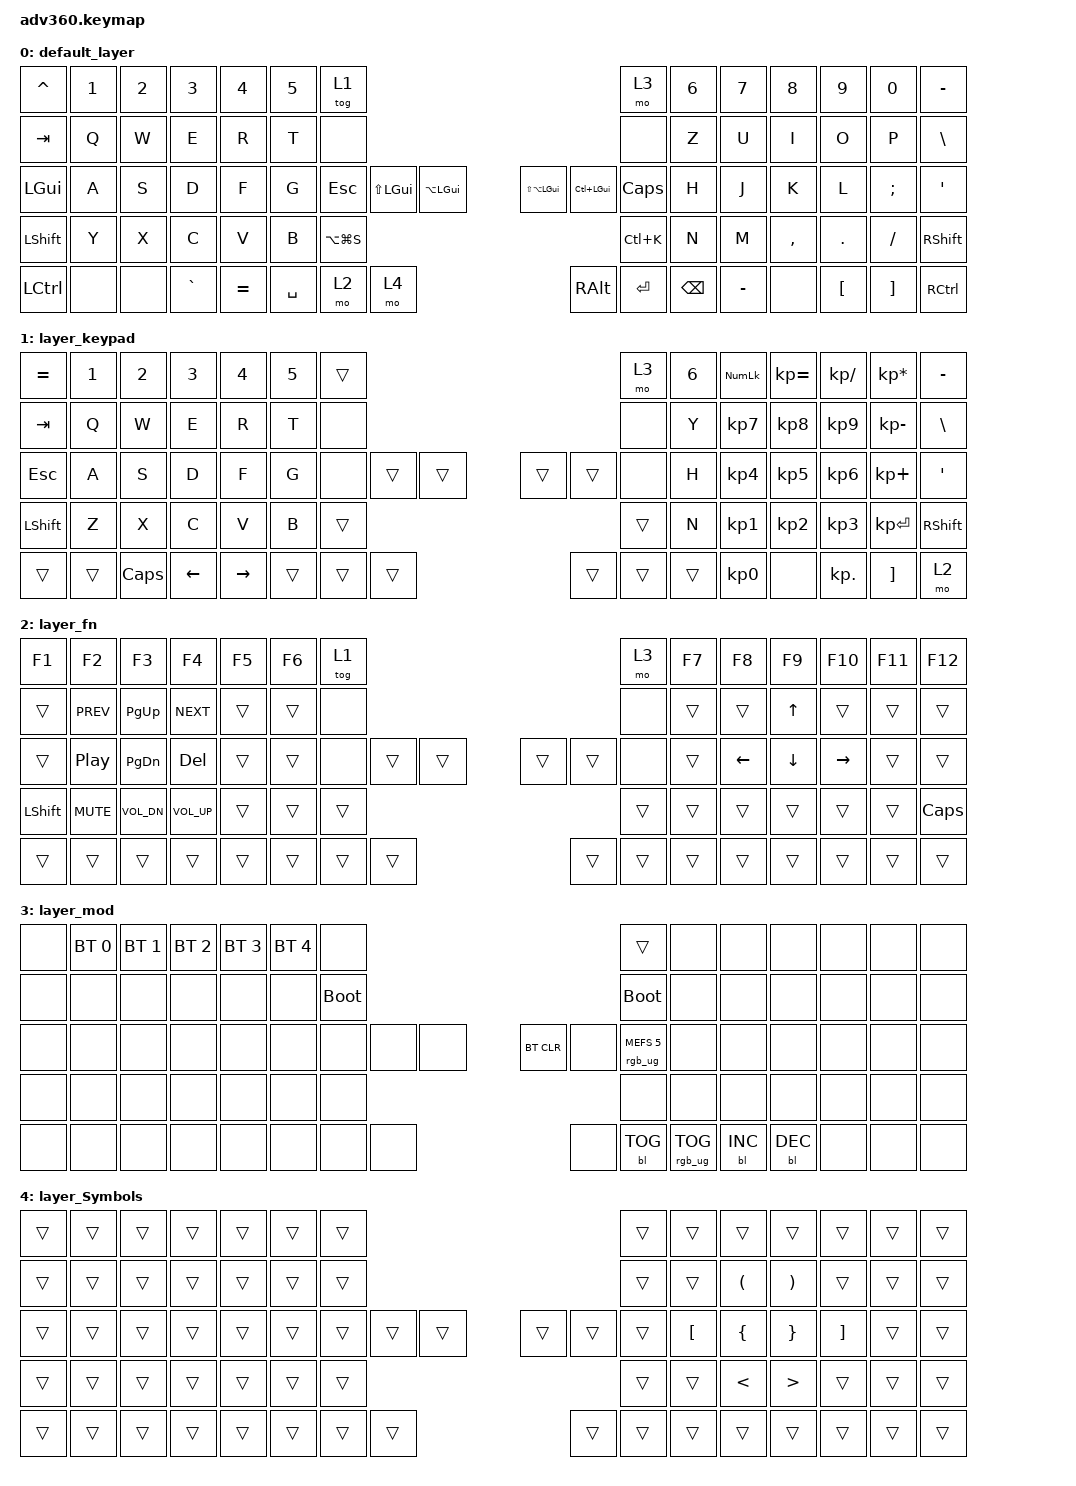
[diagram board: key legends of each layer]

/*
 * Copyright (c) 2020 The ZMK Contributors
 *
 * SPDX-License-Identifier: MIT
 */


/* THIS FILE WAS GENERATED!
 *
 * This file was generated automatically. You may or may not want to
 * edit it directly.
 */

#include <behaviors.dtsi>
#include <dt-bindings/zmk/keys.h>
#include <dt-bindings/zmk/bt.h>
#include <dt-bindings/zmk/rgb.h>
#include <dt-bindings/zmk/backlight.h>

/ {
  behaviors {
    #include "macros.dtsi"

    hm: homerow_mods {
        compatible = "zmk,behavior-hold-tap";
        label = "HOMEROW_MODS";
        #binding-cells = <2>;
        tapping-term-ms = <200>;
        quick_tap_ms = <175>;
        flavor = "tap-preferred";
        bindings = <&kp>, <&kp>;
    };
  };

    keymap {
        compatible = "zmk,keymap";


        default_layer {
            bindings = <
    &kp CARET  &kp N1  &kp N2     &kp N3     &kp N4  &kp N5               &tog 1                                                                                                      &mo 3  &kp N6     &kp N7     &kp N8    &kp N9    &kp N0  &kp MINUS
      &kp TAB   &kp Q   &kp W      &kp E      &kp R   &kp T                &none                                                                                                      &none   &kp Z      &kp U      &kp I     &kp O     &kp P   &kp BSLH
 &kp LEFT_GUI   &kp A   &kp S      &kp D      &kp F   &kp G              &kp ESC  &kp LS(LEFT_GUI)  &kp LA(LEFT_GUI)                  &kp LS(LA(LEFT_GUI))  &kp LC(LEFT_GUI)       &kp CAPS   &kp H      &kp J      &kp K     &kp L  &kp SEMI    &kp SQT
    &kp LSHFT   &kp Y   &kp X      &kp C      &kp V   &kp B                                            &kp LA(LG(S))                             &kp LC(K)                                    &kp N      &kp M  &kp COMMA   &kp DOT  &kp FSLH  &kp RSHFT
    &kp LCTRL   &none   &none  &kp GRAVE  &kp EQUAL                    &kp SPACE             &mo 2             &mo 4                         &kp RIGHT_ALT         &kp ENTER  &kp BACKSPACE          &kp MINUS      &none  &kp LBKT  &kp RBKT  &kp RCTRL
            >;
        };

        layer_keypad {
            bindings = <
 &kp EQUAL  &kp N1    &kp N2    &kp N3     &kp N4  &kp N5            &trans                                                   &mo 3  &kp N6  &kp KP_NUM  &kp KP_EQUAL  &kp KP_DIVIDE  &kp KP_MULTIPLY  &kp MINUS
   &kp TAB   &kp Q     &kp W     &kp E      &kp R   &kp T             &none                                                   &none   &kp Y   &kp KP_N7     &kp KP_N8      &kp KP_N9     &kp KP_MINUS   &kp BSLH
   &kp ESC   &kp A     &kp S     &kp D      &kp F   &kp G             &none  &trans  &trans                  &trans  &trans   &none   &kp H   &kp KP_N4     &kp KP_N5      &kp KP_N6      &kp KP_PLUS    &kp SQT
 &kp LSHFT   &kp Z     &kp X     &kp C      &kp V   &kp B                            &trans                  &trans                   &kp N   &kp KP_N1     &kp KP_N2      &kp KP_N3     &kp KP_ENTER  &kp RSHFT
    &trans  &trans  &kp CAPS  &kp LEFT  &kp RIGHT                    &trans  &trans  &trans                  &trans  &trans  &trans           &kp KP_N0         &none     &kp KP_DOT         &kp RBKT      &mo 2
            >;
        };

        layer_fn {
            bindings = <
         &kp F1            &kp F2        &kp F3        &kp F4  &kp F5  &kp F6            &tog 1                                                   &mo 3  &kp F7          &kp F8          &kp F9          &kp F10  &kp F11       &kp F12
         &trans        &kp C_PREV     &kp PG_UP    &kp C_NEXT  &trans  &trans             &none                                                   &none  &trans          &trans    &kp UP_ARROW           &trans   &trans        &trans
         &trans  &kp C_PLAY_PAUSE     &kp PG_DN    &kp DELETE  &trans  &trans             &none  &trans  &trans                  &trans  &trans   &none  &trans  &kp LEFT_ARROW  &kp DOWN_ARROW  &kp RIGHT_ARROW   &trans        &trans
 &kp LEFT_SHIFT        &kp C_MUTE  &kp C_VOL_DN  &kp C_VOL_UP  &trans  &trans                            &trans                  &trans                  &trans          &trans          &trans           &trans   &trans  &kp CAPSLOCK
         &trans            &trans        &trans        &trans  &trans                    &trans  &trans  &trans                  &trans  &trans  &trans                  &trans          &trans           &trans   &trans        &trans
            >;
        };

        layer_mod {
            bindings = <
  &none  &bt BT_SEL 0  &bt BT_SEL 1  &bt BT_SEL 2  &bt BT_SEL 3  &bt BT_SEL 4                  &none                                                                          &trans   &none       &none       &none   &none   &none   &none
  &none         &none         &none         &none         &none         &none            &bootloader                                                                     &bootloader   &none       &none       &none   &none   &none   &none
  &none         &none         &none         &none         &none         &none                  &none   &none   &none                  &bt BT_CLR       &none  &rgb_ug RGB_MEFS_CMD 5   &none       &none       &none   &none   &none   &none
  &none         &none         &none         &none         &none         &none                                  &none                       &none                                       &none       &none       &none   &none   &none   &none
  &none         &none         &none         &none         &none                                &none   &none   &none                       &none  &bl BL_TOG         &rgb_ug RGB_TOG          &bl BL_INC  &bl BL_DEC   &none   &none   &none
            >;
        };

        layer_Symbols {
            bindings = <
 &trans  &trans  &trans  &trans  &trans  &trans            &trans                                                  &trans            &trans                &trans                 &trans             &trans  &trans  &trans
 &trans  &trans  &trans  &trans  &trans  &trans            &trans                                                  &trans            &trans  &kp LEFT_PARENTHESIS  &kp RIGHT_PARENTHESIS             &trans  &trans  &trans
 &trans  &trans  &trans  &trans  &trans  &trans            &trans  &trans  &trans                  &trans  &trans  &trans  &kp LEFT_BRACKET        &kp LEFT_BRACE        &kp RIGHT_BRACE  &kp RIGHT_BRACKET  &trans  &trans
 &trans  &trans  &trans  &trans  &trans  &trans                            &trans                  &trans                            &trans         &kp LESS_THAN       &kp GREATER_THAN             &trans  &trans  &trans
 &trans  &trans  &trans  &trans  &trans                    &trans  &trans  &trans                  &trans  &trans  &trans                                  &trans                 &trans             &trans  &trans  &trans
            >;
        };

    };
};
